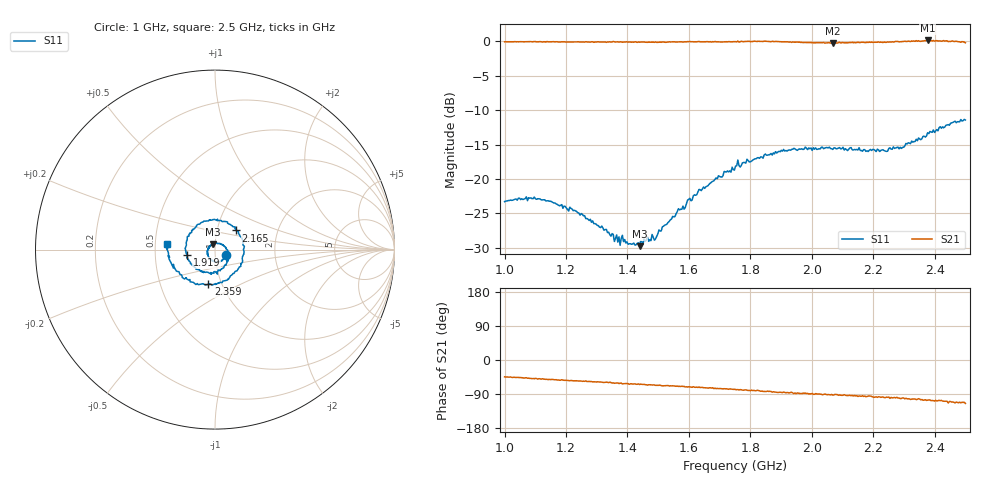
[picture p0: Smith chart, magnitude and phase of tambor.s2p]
# HZ S RI R 50
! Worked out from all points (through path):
!   404 points, 1 GHz to 2.5 GHz, reference 50 ohm
!   highest |S21| = 0.15 dB at 2.377 GHz (marker M1); lowest = -0.3 dB at 2.068 GHz (marker M2)
!   group delay of S21, straight-line fit = 123 ps
!   lowest |S11| = -29.8 dB at 1.439 GHz (marker M3), VSWR 1.07, Z = 48.7 + j2.9 ohm
!   |S11| at or under -10 dB: start of sweep to end of sweep
!   S12 and S22 are empty: the file has one direction only
!   S11 on the Smith chart (normalised r, x): 1 GHz: 1.13, -0.07; 1.919 GHz: 0.73, -0.04; 2.165 GHz: 1.23, +0.27; 2.359 GHz: 0.86, -0.35; 2.5 GHz: 0.58, +0.04
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1e9  0.0605 -0.0317  0.709 -0.6952  0 0  0 0
1.104218e9  0.0236 -0.067  0.6493 -0.7495  0 0  0 0
1.253102e9  -0.0364 -0.0415  0.5494 -0.8253  0 0  0 0
1.368486e9  -0.0335 0.0087  0.4879 -0.867  0 0  0 0
1.439206e9  -0.0127 0.0298  0.4235 -0.893  0 0  0 0
1.491315e9  0.0164 0.0327  0.3897 -0.912  0 0  0 0
1.502481e9  0.0222 0.0362  0.3892 -0.9075  0 0  0 0
1.640198e9  0.0739 -0.0359  0.3031 -0.9463  0 0  0 0
1.751861e9  0.0161 -0.1229  0.2089 -0.9753  0 0  0 0
1.833747e9  -0.0775 -0.1221  0.1301 -0.9933  0 0  0 0
1.919355e9  -0.1565 -0.0299  0.0731 -0.9917  0 0  0 0
2.001241e9  -0.1304 0.0947  0.0289 -0.9821  0 0  0 0
2.068238e9  -0.037 0.1597  -0.0425 -0.9698  0 0  0 0
2.120347e9  0.0485 0.1574  -0.0595 -0.9777  0 0  0 0
2.165012e9  0.1177 0.1068  -0.076 -0.9842  0 0  0 0
2.205955e9  0.1561 0.0396  -0.1388 -0.9777  0 0  0 0
2.25062e9  0.1538 -0.0631  -0.132 -0.9802  0 0  0 0
2.310174e9  0.0721 -0.1642  -0.2153 -0.9767  0 0  0 0
2.358561e9  -0.0367 -0.193  -0.2488 -0.9775  0 0  0 0
2.377171e9  -0.0936 -0.1953  -0.2786 -0.9784  0 0  0 0
2.451613e9  -0.2319 -0.1027  -0.3361 -0.9414  0 0  0 0
2.5e9  -0.2661 0.033  -0.4075 -0.8892  0 0  0 0
